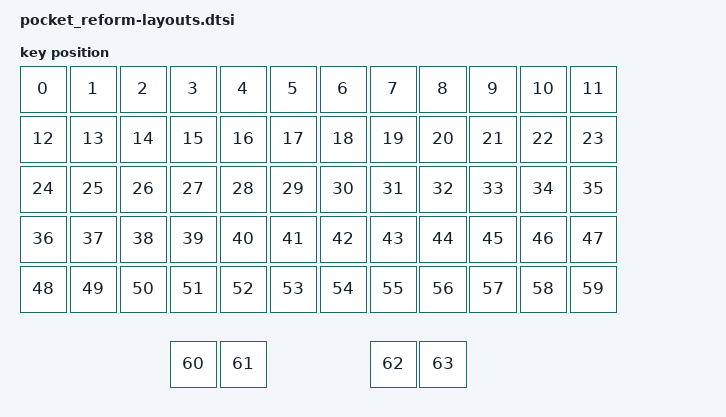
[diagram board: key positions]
#include <physical_layouts.dtsi>

/ {
    pocket_reform_layout: pocket_reform_layout {
        compatible = "zmk,physical-layout";
        display-name = "MNT Pocket Reform Layout";

        keys  //                     w   h    x    y     rot    rx    ry
            // Row 0
            = <&key_physical_attrs 100 100    0    0       0     0     0>
            , <&key_physical_attrs 100 100  100    0       0     0     0>
            , <&key_physical_attrs 100 100  200    0       0     0     0>
            , <&key_physical_attrs 100 100  300    0       0     0     0>
            , <&key_physical_attrs 100 100  400    0       0     0     0>
            , <&key_physical_attrs 100 100  500    0       0     0     0>
            , <&key_physical_attrs 100 100  600    0       0     0     0>
            , <&key_physical_attrs 100 100  700    0       0     0     0>
            , <&key_physical_attrs 100 100  800    0       0     0     0>
            , <&key_physical_attrs 100 100  900    0       0     0     0>
            , <&key_physical_attrs 100 100 1000    0       0     0     0>
            , <&key_physical_attrs 100 100 1100    0       0     0     0>
            // Row 1
            , <&key_physical_attrs 100 100    0  100       0     0     0>
            , <&key_physical_attrs 100 100  100  100       0     0     0>
            , <&key_physical_attrs 100 100  200  100       0     0     0>
            , <&key_physical_attrs 100 100  300  100       0     0     0>
            , <&key_physical_attrs 100 100  400  100       0     0     0>
            , <&key_physical_attrs 100 100  500  100       0     0     0>
            , <&key_physical_attrs 100 100  600  100       0     0     0>
            , <&key_physical_attrs 100 100  700  100       0     0     0>
            , <&key_physical_attrs 100 100  800  100       0     0     0>
            , <&key_physical_attrs 100 100  900  100       0     0     0>
            , <&key_physical_attrs 100 100 1000  100       0     0     0>
            , <&key_physical_attrs 100 100 1100  100       0     0     0>
            // Row 2
            , <&key_physical_attrs 100 100    0  200       0     0     0>
            , <&key_physical_attrs 100 100  100  200       0     0     0>
            , <&key_physical_attrs 100 100  200  200       0     0     0>
            , <&key_physical_attrs 100 100  300  200       0     0     0>
            , <&key_physical_attrs 100 100  400  200       0     0     0>
            , <&key_physical_attrs 100 100  500  200       0     0     0>
            , <&key_physical_attrs 100 100  600  200       0     0     0>
            , <&key_physical_attrs 100 100  700  200       0     0     0>
            , <&key_physical_attrs 100 100  800  200       0     0     0>
            , <&key_physical_attrs 100 100  900  200       0     0     0>
            , <&key_physical_attrs 100 100 1000  200       0     0     0>
            , <&key_physical_attrs 100 100 1100  200       0     0     0>
            // Row 3
            , <&key_physical_attrs 100 100    0  300       0     0     0>
            , <&key_physical_attrs 100 100  100  300       0     0     0>
            , <&key_physical_attrs 100 100  200  300       0     0     0>
            , <&key_physical_attrs 100 100  300  300       0     0     0>
            , <&key_physical_attrs 100 100  400  300       0     0     0>
            , <&key_physical_attrs 100 100  500  300       0     0     0>
            , <&key_physical_attrs 100 100  600  300       0     0     0>
            , <&key_physical_attrs 100 100  700  300       0     0     0>
            , <&key_physical_attrs 100 100  800  300       0     0     0>
            , <&key_physical_attrs 100 100  900  300       0     0     0>
            , <&key_physical_attrs 100 100 1000  300       0     0     0>
            , <&key_physical_attrs 100 100 1100  300       0     0     0>
            // Row 4
            , <&key_physical_attrs 100 100    0  400       0     0     0>
            , <&key_physical_attrs 100 100  100  400       0     0     0>
            , <&key_physical_attrs 100 100  200  400       0     0     0>
            , <&key_physical_attrs 100 100  300  400       0     0     0>
            , <&key_physical_attrs 100 100  400  400       0     0     0>
            , <&key_physical_attrs 100 100  500  400       0     0     0>
            , <&key_physical_attrs 100 100  600  400       0     0     0>
            , <&key_physical_attrs 100 100  700  400       0     0     0>
            , <&key_physical_attrs 100 100  800  400       0     0     0>
            , <&key_physical_attrs 100 100  900  400       0     0     0>
            , <&key_physical_attrs 100 100 1000  400       0     0     0>
            , <&key_physical_attrs 100 100 1100  400       0     0     0>
            // Row 5 - Trackball buttons
            , <&key_physical_attrs 100 100  300  550       0     0     0>
            , <&key_physical_attrs 100 100  400  550       0     0     0>
            , <&key_physical_attrs 100 100  700  550       0     0     0>
            , <&key_physical_attrs 100 100  800  550       0     0     0>
            ;
    };
};
